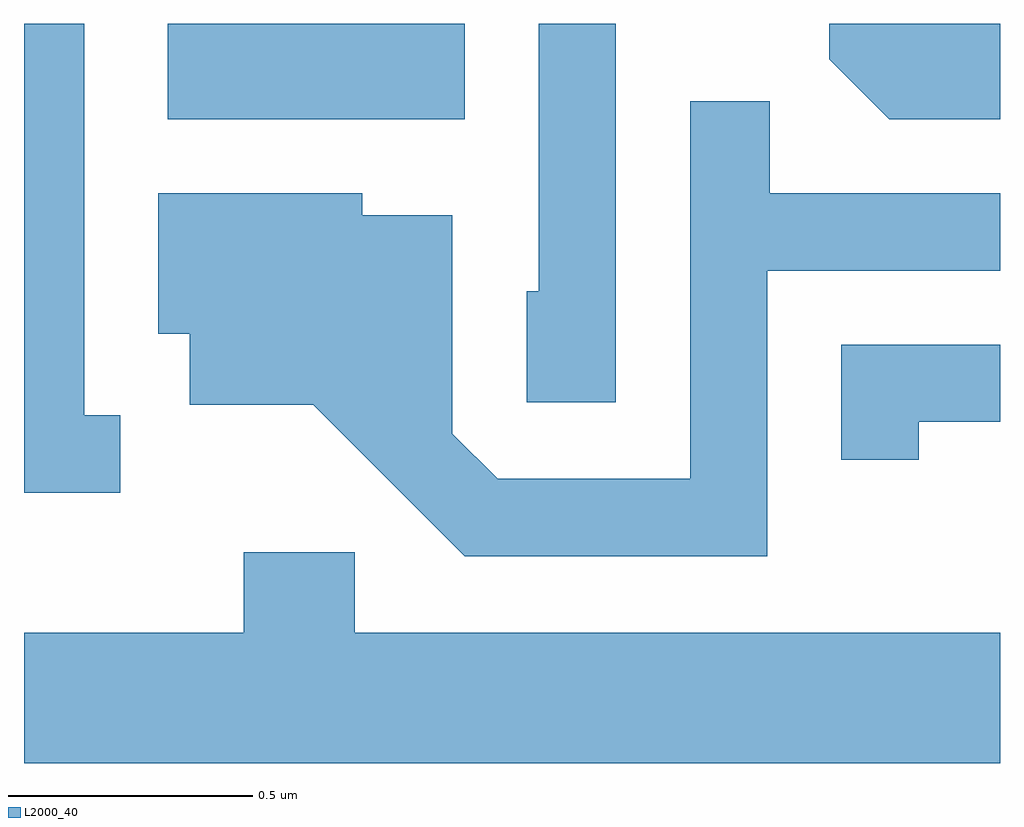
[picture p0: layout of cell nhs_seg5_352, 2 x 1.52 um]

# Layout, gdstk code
import gdstk
lib = gdstk.Library(unit=1e-6, precision=1e-09)
def R(c, l, rs):  # rectangles x0, y0, x1, y1
    for r in rs: c.add(gdstk.rectangle(r[:2], r[2:], *l))
def P(c, l, *ps):  # polygons
    for p in ps: c.add(gdstk.Polygon(p, *l))
L2000_40 = (2000, 40)

nhs_seg5_352 = lib.new_cell('nhs_seg5_352')
R(nhs_seg5_352, L2000_40, [(187.906,1475.876,188.514,1476.072)])
P(nhs_seg5_352, L2000_40, [(188.824,1476.072),(188.666,1476.072),(188.666,1475.524),(188.641,1475.524),(188.641,1475.296),(188.824,1475.296)],
  [(187.808,1475.269),(187.734,1475.269),(187.734,1476.072),(187.611,1476.072),(187.611,1475.111),(187.808,1475.111)],
  [(189.611,1476.072),(189.261,1476.072),(189.261,1475.999),(189.384,1475.876),(189.611,1475.876)],
  [(189.134,1475.566),(189.611,1475.566),(189.611,1475.724),(189.139,1475.724),(189.139,1475.913),(188.976,1475.913),(188.976,1475.139),(188.582,1475.139),(188.489,1475.232),(188.489,1475.679),(188.304,1475.679),(188.304,1475.724),(187.886,1475.724),(187.886,1475.436),(187.951,1475.436),(187.951,1475.291),(188.204,1475.291),(188.514,1474.981),(189.134,1474.981)],
  [(189.444,1475.256),(189.611,1475.256),(189.611,1475.414),(189.286,1475.414),(189.286,1475.178),(189.444,1475.178)],
  [(189.611,1474.824),(188.289,1474.824),(188.289,1474.989),(188.061,1474.989),(188.061,1474.824),(187.611,1474.824),(187.611,1474.556),(189.611,1474.556)])

lib.write_gds('nhs_seg5_352.gds')
